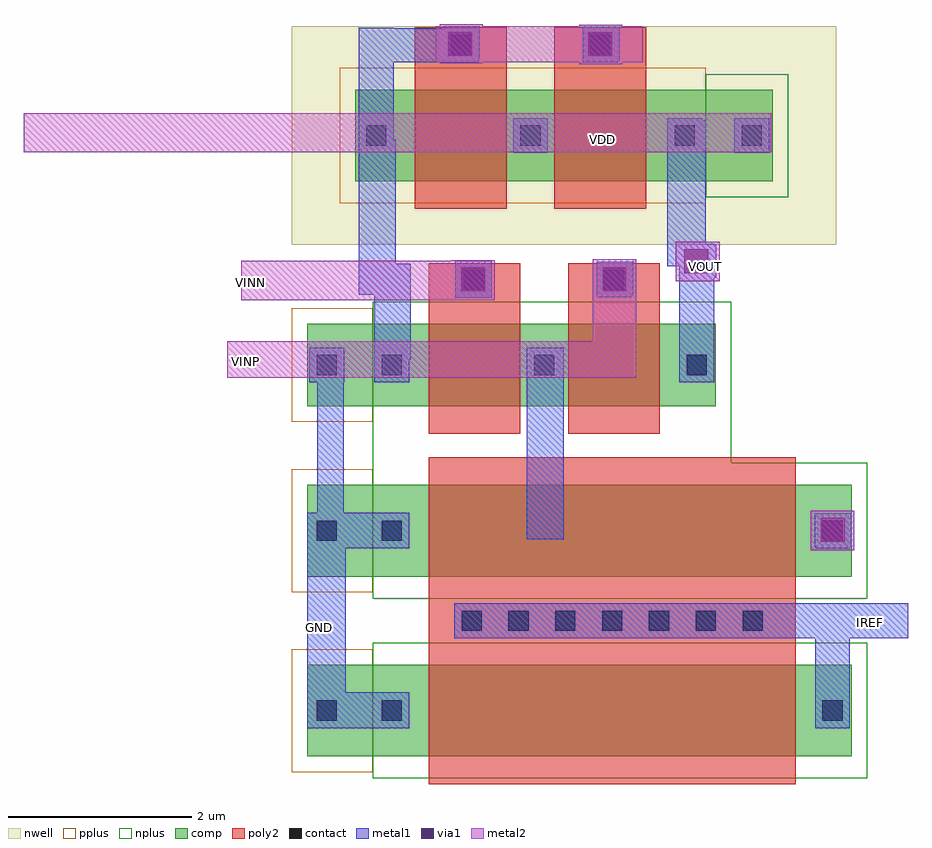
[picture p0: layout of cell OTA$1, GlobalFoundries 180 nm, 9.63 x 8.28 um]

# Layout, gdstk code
from math import pi, radians
import gdstk
lib = gdstk.Library(unit=1e-6, precision=5e-09)
def R(c, l, rs):  # rectangles x0, y0, x1, y1
    for r in rs: c.add(gdstk.rectangle(r[:2], r[2:], *l))
def A(c, l, x, y, w, h, nx, ny, dx, dy):  # array of equal rectangles
    R(c, l, [(x+i*dx, y+j*dy, x+i*dx+w, y+j*dy+h) for i in range(nx) for j in range(ny)])
nwell = (21, 0)
comp = (22, 0)
poly2 = (30, 0)
pplus = (31, 0)
nplus = (32, 0)
contact = (33, 0)
metal1 = (34, 0)
via1 = (35, 0)
metal2 = (36, 0)

nfet = lib.new_cell('nfet')
R(nfet, comp, [(-0.42,0,0,1), (0,0,4.38,1), (4.38,0,4.8,1), (4.8,0,5.51,1)])
R(nfet, poly2, [(0.19,-0.3,4.19,1.3), (0.19,1.3,4.19,1.66)])
R(nfet, pplus, [(4.8,-0.17,5.68,1.17)])
R(nfet, nplus, [(-0.59,-0.24,4.8,1.24)])
A(nfet, contact, 0.55, 1.37, 0.22, 0.22, 7, 1, 0.51, 0)
R(nfet, contact, [(-0.32,0.39,-0.1,0.61), (4.48,0.39,4.7,0.61), (5.19,0.39,5.41,0.61)])
R(nfet, metal1, [(-0.4,0.31,-0.02,0.69), (4.4,0.31,4.78,0.69), (5.11,0.31,5.49,0.69), (0.47,1.29,3.91,1.67)])

nfet_1_1 = lib.new_cell('nfet$1$1')
R(nfet_1_1, comp, [(-0.42,0,0,0.9), (0,0,2.9,0.9), (2.9,0,3.32,0.9), (3.32,0,4.03,0.9)])
R(nfet_1_1, poly2, [(0.19,-0.3,1.19,1.2), (1.71,-0.3,2.71,1.2), (0.19,1.2,1.19,1.56), (1.71,1.2,2.71,1.56)])
R(nfet_1_1, pplus, [(3.32,-0.17,4.2,1.07)])
R(nfet_1_1, nplus, [(-0.59,-0.24,3.32,1.14)])
A(nfet_1_1, contact, -0.32, 0.34, 0.22, 0.22, 3, 1, 1.66, 0)
R(nfet_1_1, contact, [(3.71,0.34,3.93,0.56), (0.58,1.27,0.8,1.49), (2.1,1.27,2.32,1.49)])
A(nfet_1_1, metal1, -0.4, 0.26, 0.38, 0.38, 3, 1, 1.66, 0)
R(nfet_1_1, metal1, [(3.63,0.26,4.01,0.64), (0.5,1.19,0.88,1.57), (2.02,1.19,2.4,1.57)])

pfet_1 = lib.new_cell('pfet$1')
R(pfet_1, nwell, [(-1.15,-0.69,4.78,1.69)])
R(pfet_1, comp, [(-0.46,0,0,1), (0,0,2.9,1), (2.9,0,3.36,1), (3.36,0,4.09,1)])
R(pfet_1, poly2, [(0.19,-0.3,1.19,1.3), (1.71,-0.3,2.71,1.3), (0.19,1.3,1.19,1.68), (1.71,1.3,2.71,1.68)])
R(pfet_1, pplus, [(-0.63,-0.24,3.36,1.24)])
R(pfet_1, nplus, [(3.36,-0.17,4.26,1.17)])
A(pfet_1, contact, -0.34, 0.39, 0.22, 0.22, 3, 1, 1.68, 0)
R(pfet_1, contact, [(3.75,0.39,3.97,0.61), (0.58,1.38,0.8,1.6), (2.1,1.38,2.32,1.6)])
A(pfet_1, metal1, -0.42, 0.31, 0.38, 0.38, 3, 1, 1.68, 0)
R(pfet_1, metal1, [(3.67,0.31,4.05,0.69), (0.5,1.3,0.88,1.68), (2.02,1.3,2.4,1.68)])

ota_1 = lib.new_cell('OTA$1')
R(ota_1, nplus, [(-2.255,0.635,1.655,1.09)])
R(ota_1, metal1, [(-2.965,-2.255,-1.855,-1.865), (-2.965,-2.25,-2.545,0.09), (2.565,-1.93,2.945,-0.96), (0.665,-1.275,3.58,-0.895), (1.73,-1.215,2.81,-0.96), (-2.96,-0.295,-1.855,0.09), (2.56,-0.28,2.96,0.085), (-2.86,-0.245,-2.57,1.88), (-0.575,-0.2,-0.17,1.89), (1.085,1.665,1.465,3.01), (-2.235,1.765,-1.84,2.805), (-1.355,2.435,-0.955,2.835), (0.185,2.46,0.585,2.825), (-2.405,2.465,-2.005,4.155), (-2.405,2.465,-1.84,2.805), (1.09,2.65,1.49,3.015), (-2.315,2.705,-2.025,4.385), (0.955,2.775,1.465,3.02), (0.955,2.82,1.375,4.365), (-2.405,4.095,-2.025,5.375), (-2.405,5,-1.1,5.37), (0.035,5.015,0.435,5.38), (-1.485,5.025,-1.085,5.39)])
R(ota_1, via1, [(2.63,-0.225,2.89,0.035), (-1.29,2.505,-1.03,2.765), (0.25,2.505,0.51,2.765), (1.14,2.7,1.4,2.96), (0.095,5.065,0.355,5.325), (-1.43,5.07,-1.17,5.33)])
R(ota_1, metal2, [(2.52,-0.32,2.99,0.11), (-3.84,1.56,0.62,1.96), (0.145,1.64,0.62,2.635), (-3.685,2.405,-0.93,2.835), (-1.395,2.41,-0.925,2.84), (0.145,2.42,0.615,2.85), (1.05,2.61,1.52,3.04), (1.18,2.615,1.525,3.04), (-6.055,4.02,2.09,4.44), (-0.005,4.975,0.465,5.405), (-1.525,4.985,-1.055,5.415), (-1.565,5,0.69,5.39)])
ota_1.add(gdstk.Reference(nfet, (2.545,-2.565), rotation=pi, x_reflection=True))
ota_1.add(gdstk.Reference(nfet, (2.545,0.395), rotation=pi))
ota_1.add(gdstk.Reference(nfet_1_1, (1.065,1.25), rotation=pi, x_reflection=True))
ota_1.add(gdstk.Reference(pfet_1, (-1.985,3.7)))
ota_1.add(gdstk.Label('IREF', (3.17,-1.105), layer=34, texttype=10))
ota_1.add(gdstk.Label('GND', (-2.835,-1.16), layer=34, texttype=10))
ota_1.add(gdstk.Label('VOUT', (1.37,2.77), layer=36, texttype=10))
ota_1.add(gdstk.Label('VDD', (0.255,4.155), layer=36, texttype=10))
ota_1.add(gdstk.Label('VINP', (-3.645,1.735), layer=36, texttype=10))
ota_1.add(gdstk.Label('VINN', (-3.58,2.595), layer=36, texttype=10))

lib.write_gds('OTA_1.gds')
